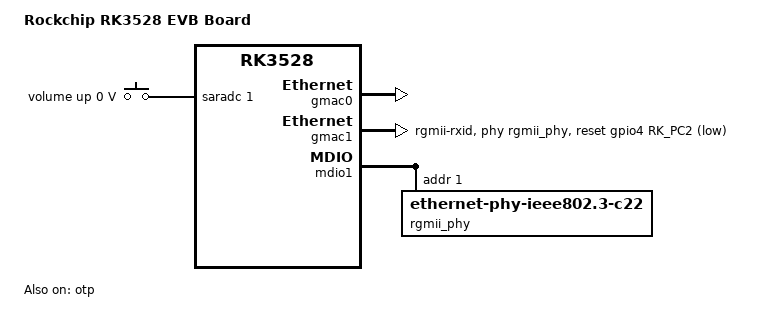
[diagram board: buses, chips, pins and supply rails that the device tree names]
/*
 * SPDX-License-Identifier:     GPL-2.0+
 *
 * (C) Copyright 2020 Rockchip Electronics Co., Ltd
 */

/dts-v1/;
#include "rk3528.dtsi"
#include "rk3528-u-boot.dtsi"
#include "rk3528-evb-u-boot.dtsi"
#include <dt-bindings/input/input.h>

/ {
	model = "Rockchip RK3528 EVB Board";
	compatible = "rokchip,rk3528-evb", "rockchip,rk3528";

	adc-keys {
		compatible = "adc-keys";
		io-channels = <&saradc 1>;
		io-channel-names = "buttons";
		keyup-threshold-microvolt = <1800000>;
		u-boot,dm-pre-reloc;
		status = "okay";

		volumeup-key {
			u-boot,dm-pre-reloc;
			linux,code = <KEY_VOLUMEUP>;
			label = "volume up";
			press-threshold-microvolt = <9>;
		};
	};
};

&otp {
	status = "okay";
};

&gmac0 {
	status = "okay";
};

&gmac1 {
	/* Use rgmii-rxid mode to disable rx delay inside Soc */
	phy-mode = "rgmii-rxid";
	clock_in_out = "output";

	snps,reset-gpio = <&gpio4 RK_PC2 GPIO_ACTIVE_LOW>;
	snps,reset-active-low;
	/* Reset time is 20ms, 100ms for rtl8211f */
	snps,reset-delays-us = <0 20000 100000>;

	tx_delay = <0x30>;
	/* rx_delay = <0x3f>; */

	pinctrl-names = "default";
	pinctrl-0 = <&rgmii_miim
		     &rgmii_tx_bus2
		     &rgmii_rx_bus2
		     &rgmii_rgmii_clk
		     &rgmii_rgmii_bus>;

	phy-handle = <&rgmii_phy>;
	status = "okay";
};

&mdio1 {
	rgmii_phy: phy@1 {
		compatible = "ethernet-phy-ieee802.3-c22";
		reg = <0x1>;
	};
};
